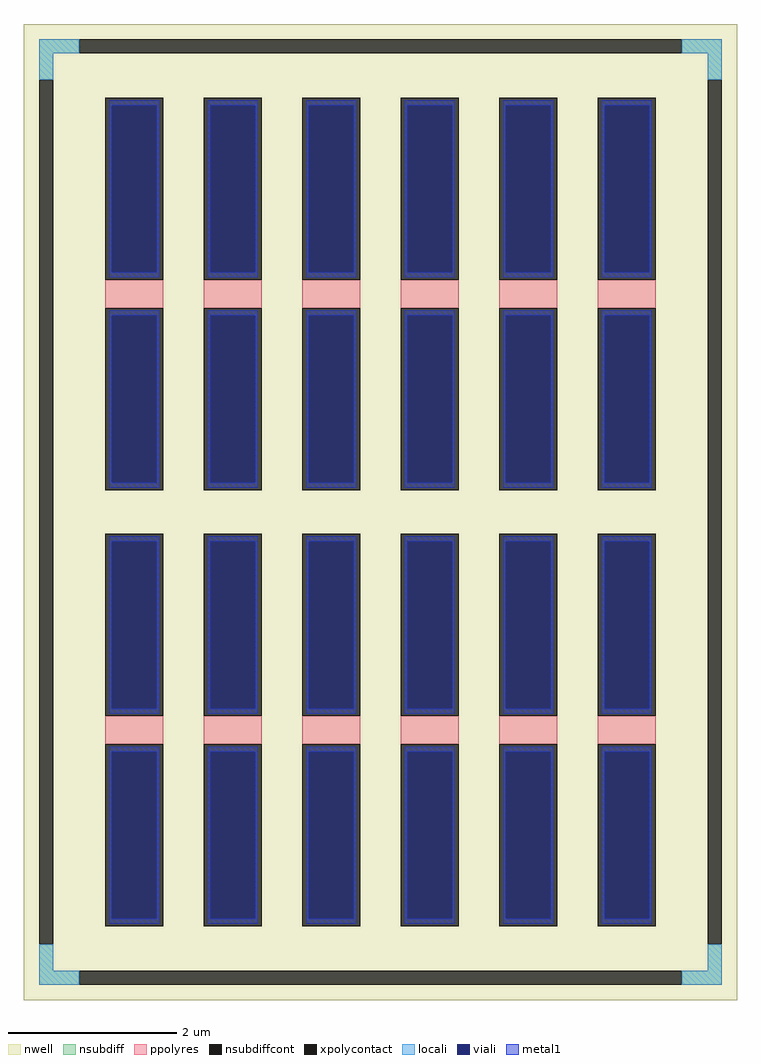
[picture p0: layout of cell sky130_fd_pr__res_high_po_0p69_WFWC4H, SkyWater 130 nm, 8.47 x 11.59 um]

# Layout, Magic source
magic
tech sky130A
magscale 1 2
<< nwell >>
rect -847 -1159 847 1159
<< nsubdiff >>
rect -811 1089 -715 1123
rect 715 1089 811 1123
rect -811 1027 -777 1089
rect 777 1027 811 1089
rect -811 -1089 -777 -1027
rect 777 -1089 811 -1027
rect -811 -1123 -715 -1089
rect 715 -1123 811 -1089
<< nsubdiffcont >>
rect -715 1089 715 1123
rect -811 -1027 -777 1027
rect 777 -1027 811 1027
rect -715 -1123 715 -1089
<< xpolycontact >>
rect -654 552 -516 984
rect -654 52 -516 484
rect -420 552 -282 984
rect -420 52 -282 484
rect -186 552 -48 984
rect -186 52 -48 484
rect 48 552 186 984
rect 48 52 186 484
rect 282 552 420 984
rect 282 52 420 484
rect 516 552 654 984
rect 516 52 654 484
rect -654 -484 -516 -52
rect -654 -984 -516 -552
rect -420 -484 -282 -52
rect -420 -984 -282 -552
rect -186 -484 -48 -52
rect -186 -984 -48 -552
rect 48 -484 186 -52
rect 48 -984 186 -552
rect 282 -484 420 -52
rect 282 -984 420 -552
rect 516 -484 654 -52
rect 516 -984 654 -552
<< ppolyres >>
rect -654 484 -516 552
rect -420 484 -282 552
rect -186 484 -48 552
rect 48 484 186 552
rect 282 484 420 552
rect 516 484 654 552
rect -654 -552 -516 -484
rect -420 -552 -282 -484
rect -186 -552 -48 -484
rect 48 -552 186 -484
rect 282 -552 420 -484
rect 516 -552 654 -484
<< locali >>
rect -811 1089 -715 1123
rect 715 1089 811 1123
rect -811 1027 -777 1089
rect 777 1027 811 1089
rect -811 -1089 -777 -1027
rect 777 -1089 811 -1027
rect -811 -1123 -715 -1089
rect 715 -1123 811 -1089
<< viali >>
rect -638 569 -532 966
rect -404 569 -298 966
rect -170 569 -64 966
rect 64 569 170 966
rect 298 569 404 966
rect 532 569 638 966
rect -638 70 -532 467
rect -404 70 -298 467
rect -170 70 -64 467
rect 64 70 170 467
rect 298 70 404 467
rect 532 70 638 467
rect -638 -467 -532 -70
rect -404 -467 -298 -70
rect -170 -467 -64 -70
rect 64 -467 170 -70
rect 298 -467 404 -70
rect 532 -467 638 -70
rect -638 -966 -532 -569
rect -404 -966 -298 -569
rect -170 -966 -64 -569
rect 64 -966 170 -569
rect 298 -966 404 -569
rect 532 -966 638 -569
<< metal1 >>
rect -644 966 -526 978
rect -644 569 -638 966
rect -532 569 -526 966
rect -644 557 -526 569
rect -410 966 -292 978
rect -410 569 -404 966
rect -298 569 -292 966
rect -410 557 -292 569
rect -176 966 -58 978
rect -176 569 -170 966
rect -64 569 -58 966
rect -176 557 -58 569
rect 58 966 176 978
rect 58 569 64 966
rect 170 569 176 966
rect 58 557 176 569
rect 292 966 410 978
rect 292 569 298 966
rect 404 569 410 966
rect 292 557 410 569
rect 526 966 644 978
rect 526 569 532 966
rect 638 569 644 966
rect 526 557 644 569
rect -644 467 -526 479
rect -644 70 -638 467
rect -532 70 -526 467
rect -644 58 -526 70
rect -410 467 -292 479
rect -410 70 -404 467
rect -298 70 -292 467
rect -410 58 -292 70
rect -176 467 -58 479
rect -176 70 -170 467
rect -64 70 -58 467
rect -176 58 -58 70
rect 58 467 176 479
rect 58 70 64 467
rect 170 70 176 467
rect 58 58 176 70
rect 292 467 410 479
rect 292 70 298 467
rect 404 70 410 467
rect 292 58 410 70
rect 526 467 644 479
rect 526 70 532 467
rect 638 70 644 467
rect 526 58 644 70
rect -644 -70 -526 -58
rect -644 -467 -638 -70
rect -532 -467 -526 -70
rect -644 -479 -526 -467
rect -410 -70 -292 -58
rect -410 -467 -404 -70
rect -298 -467 -292 -70
rect -410 -479 -292 -467
rect -176 -70 -58 -58
rect -176 -467 -170 -70
rect -64 -467 -58 -70
rect -176 -479 -58 -467
rect 58 -70 176 -58
rect 58 -467 64 -70
rect 170 -467 176 -70
rect 58 -479 176 -467
rect 292 -70 410 -58
rect 292 -467 298 -70
rect 404 -467 410 -70
rect 292 -479 410 -467
rect 526 -70 644 -58
rect 526 -467 532 -70
rect 638 -467 644 -70
rect 526 -479 644 -467
rect -644 -569 -526 -557
rect -644 -966 -638 -569
rect -532 -966 -526 -569
rect -644 -978 -526 -966
rect -410 -569 -292 -557
rect -410 -966 -404 -569
rect -298 -966 -292 -569
rect -410 -978 -292 -966
rect -176 -569 -58 -557
rect -176 -966 -170 -569
rect -64 -966 -58 -569
rect -176 -978 -58 -966
rect 58 -569 176 -557
rect 58 -966 64 -569
rect 170 -966 176 -569
rect 58 -978 176 -966
rect 292 -569 410 -557
rect 292 -966 298 -569
rect 404 -966 410 -569
rect 292 -978 410 -966
rect 526 -569 644 -557
rect 526 -966 532 -569
rect 638 -966 644 -569
rect 526 -978 644 -966
<< properties >>
string FIXED_BBOX -794 -1106 794 1106
string gencell sky130_fd_pr__res_high_po_0p69
string library sky130
string parameters w 0.690 l 0.50 m 2 nx 6 wmin 0.690 lmin 0.50 rho 319.8 val 796.434 dummy 0 dw 0.0 term 194.82 sterm 0.0 caplen 0 guard 1 glc 1 grc 1 gtc 1 gbc 1 compatible {sky130_fd_pr__res_high_po_0p35  sky130_fd_pr__res_high_po_0p69 sky130_fd_pr__res_high_po_1p41  sky130_fd_pr__res_high_po_2p85 sky130_fd_pr__res_high_po_5p73} snake 0 full_metal 1 wmax 0.690 n_guard 1 hv_guard 0 vias 1 viagb 0 viagt 0 viagl 0 viagr 0
<< end >>
